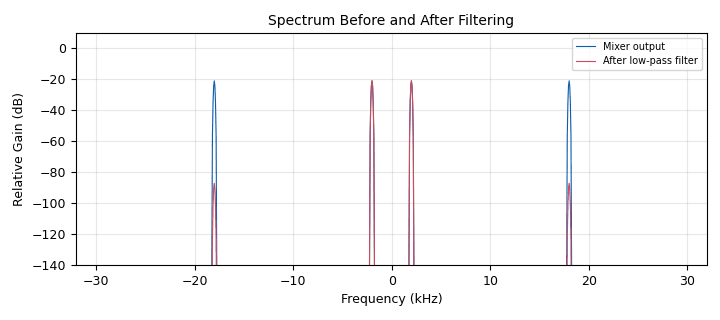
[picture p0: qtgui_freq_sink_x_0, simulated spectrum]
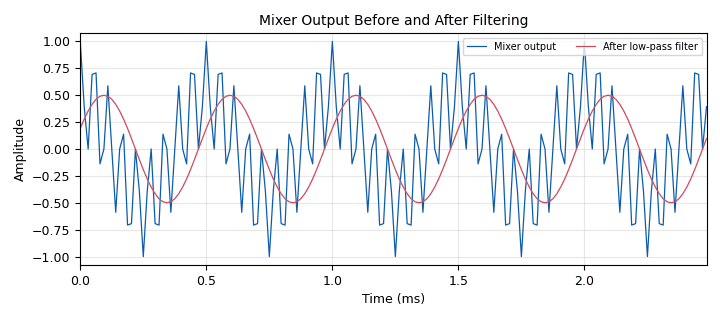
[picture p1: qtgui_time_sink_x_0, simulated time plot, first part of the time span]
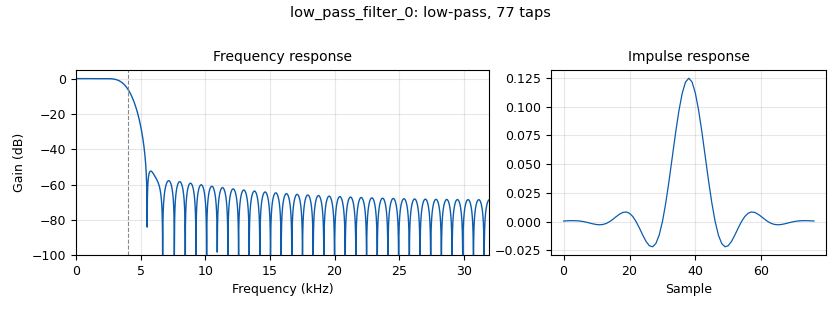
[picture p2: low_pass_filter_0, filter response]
options:
  parameters:
    author: Dhrubjun
    generate_options: qt_gui
    id: experiment2
    output_language: python
    title: Experiment2
  states: {}

blocks:
- name: samp_rate
  id: variable
  parameters:
    value: '64000'
  states: {}
- name: analog_sig_source_x_0
  id: analog_sig_source_x
  parameters:
    amp: '1'
    freq: '10000'
    offset: '0'
    phase: '0'
    samp_rate: samp_rate
    type: float
    waveform: analog.GR_COS_WAVE
  states: {}
- name: analog_sig_source_x_0_0
  id: analog_sig_source_x
  parameters:
    amp: '1'
    freq: '8000'
    offset: '0'
    phase: '0'
    samp_rate: samp_rate
    type: float
    waveform: analog.GR_COS_WAVE
  states: {}
- name: blocks_multiply_xx_0
  id: blocks_multiply_xx
  parameters:
    type: float
  states: {}
- name: low_pass_filter_0
  id: low_pass_filter
  parameters:
    cutoff_freq: '4000'
    decim: '1'
    gain: '1'
    samp_rate: samp_rate
    type: fir_filter_fff
    width: '2000'
    win: window.WIN_HAMMING
  states: {}
- name: qtgui_freq_sink_x_0
  id: qtgui_freq_sink_x
  parameters:
    bw: samp_rate
    fc: '0'
    fftsize: '1024'
    label1: Mixer output
    label2: After low-pass filter
    name: Spectrum Before and After Filtering
    nconnections: '2'
    type: float
  states: {}
- name: qtgui_time_sink_x_0
  id: qtgui_time_sink_x
  parameters:
    label1: Mixer output
    label2: After low-pass filter
    name: Mixer Output Before and After Filtering
    nconnections: '2'
    size: '1024'
    srate: samp_rate
    type: float
    width2: '2'
  states: {}

connections:
- [analog_sig_source_x_0, '0', blocks_multiply_xx_0, '0']
- [analog_sig_source_x_0_0, '0', blocks_multiply_xx_0, '1']
- [blocks_multiply_xx_0, '0', low_pass_filter_0, '0']
- [blocks_multiply_xx_0, '0', qtgui_freq_sink_x_0, '0']
- [blocks_multiply_xx_0, '0', qtgui_time_sink_x_0, '0']
- [low_pass_filter_0, '0', qtgui_freq_sink_x_0, '1']
- [low_pass_filter_0, '0', qtgui_time_sink_x_0, '1']

metadata:
  file_format: 1
  grc_version: 3.10.12.0
